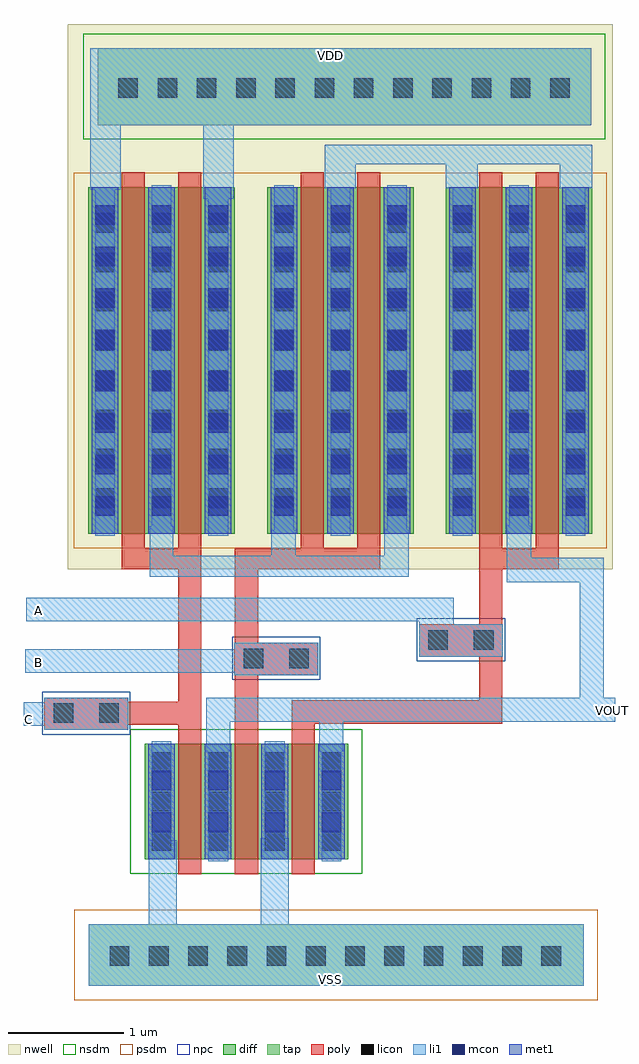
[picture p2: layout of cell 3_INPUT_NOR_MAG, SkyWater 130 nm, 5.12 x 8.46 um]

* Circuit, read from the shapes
.subckt 3_INPUT_NOR_MAG A B C VDD VOUT VSS
XM1 VOUT C VSS VSS sky130_fd_pr__nfet_01v8 w=1 l=0.2
XM2 VSS B VOUT VSS sky130_fd_pr__nfet_01v8 w=1 l=0.2
XM3 VOUT A VSS VSS sky130_fd_pr__nfet_01v8 w=1 l=0.2
XM4 n1 C VDD VDD sky130_fd_pr__pfet_01v8 w=3 l=0.2 m=2
XM5 n2 B n1 VDD sky130_fd_pr__pfet_01v8 w=3 l=0.2 m=2
XM6 VOUT A n2 VDD sky130_fd_pr__pfet_01v8 w=3 l=0.2 m=2
.ends

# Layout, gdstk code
import gdstk
lib = gdstk.Library(unit=1e-6, precision=1e-09)
def R(c, l, rs):  # rectangles x0, y0, x1, y1
    for r in rs: c.add(gdstk.rectangle(r[:2], r[2:], *l))
def A(c, l, x, y, w, h, nx, ny, dx, dy):  # array of equal rectangles
    R(c, l, [(x+i*dx, y+j*dy, x+i*dx+w, y+j*dy+h) for i in range(nx) for j in range(ny)])
nwell = (64, 20)
diff = (65, 20)
tap = (65, 44)
poly = (66, 20)
licon = (66, 44)
li1 = (67, 20)
mcon = (67, 44)
met1 = (68, 20)
nsdm = (93, 44)
psdm = (94, 20)
npc = (95, 20)

sky130_fd_pr__pfet_01v8_ = lib.new_cell('sky130_fd_pr__pfet_01v8_6WH9DB')
R(sky130_fd_pr__pfet_01v8_, nwell, [(-0.57,-1.81,0.57,1.81)])
R(sky130_fd_pr__pfet_01v8_, diff, [(-0.39,-1.5,0.39,1.5)])
R(sky130_fd_pr__pfet_01v8_, poly, [(-0.1,-1.63,0.1,1.63)])
A(sky130_fd_pr__pfet_01v8_, licon, -0.33, -1.275, 0.17, 0.17, 1, 8, 0, 0.34)
A(sky130_fd_pr__pfet_01v8_, licon, 0.16, -1.275, 0.17, 0.17, 1, 8, 0, 0.34)
R(sky130_fd_pr__pfet_01v8_, li1, [(-0.33,-1.52,-0.16,1.52), (0.16,-1.52,0.33,1.52)])
A(sky130_fd_pr__pfet_01v8_, mcon, -0.33, -1.345, 0.17, 0.17, 1, 8, 0, 0.36)
A(sky130_fd_pr__pfet_01v8_, mcon, 0.16, -1.345, 0.17, 0.17, 1, 8, 0, 0.36)
R(sky130_fd_pr__pfet_01v8_, met1, [(-0.36,-1.5,-0.13,1.5), (0.13,-1.5,0.36,1.5)])
R(sky130_fd_pr__pfet_01v8_, psdm, [(-0.515,-1.625,0.515,1.625)])

sky130_fd_pr__nfet_01v8_ = lib.new_cell('sky130_fd_pr__nfet_01v8_NUEGCF')
R(sky130_fd_pr__nfet_01v8_, diff, [(-0.39,-0.5,0.39,0.5)])
R(sky130_fd_pr__nfet_01v8_, poly, [(-0.1,-0.63,0.1,0.63)])
A(sky130_fd_pr__nfet_01v8_, licon, -0.33, -0.425, 0.17, 0.17, 1, 3, 0, 0.34)
A(sky130_fd_pr__nfet_01v8_, licon, 0.16, -0.425, 0.17, 0.17, 1, 3, 0, 0.34)
R(sky130_fd_pr__nfet_01v8_, li1, [(-0.33,-0.52,-0.16,0.52), (0.16,-0.52,0.33,0.52)])
R(sky130_fd_pr__nfet_01v8_, mcon, [(-0.33,-0.265,-0.16,-0.095), (0.16,-0.265,0.33,-0.095), (-0.33,0.095,-0.16,0.265), (0.16,0.095,0.33,0.265)])
R(sky130_fd_pr__nfet_01v8_, met1, [(-0.36,-0.5,-0.13,0.5), (0.13,-0.5,0.36,0.5)])
R(sky130_fd_pr__nfet_01v8_, nsdm, [(-0.515,-0.625,0.515,0.625)])

c_3_input_nor_mag = lib.new_cell('3_INPUT_NOR_MAG')
R(c_3_input_nor_mag, nwell, [(3.255,3.235,3.52,3.355), (1.72,3.26,1.985,3.675), (1.155,3.265,1.42,3.675), (2.71,3.295,2.975,3.565), (4.25,3.345,4.515,3.355), (3.255,3.355,3.535,3.565), (4.245,3.355,4.525,3.565), (2.21,3.565,4.525,3.675), (-0.02,3.675,4.705,4.78)])
R(c_3_input_nor_mag, tap, [(0.165,-3.55,4.45,-3.02), (0.24,3.905,4.515,4.57)])
R(c_3_input_nor_mag, poly, [(-0.22,-1.335,0.505,-1.29), (0.94,-1.325,1.14,-1.29), (1.43,-1.325,1.63,-0.86), (1.92,-1.325,2.12,-1.28), (-0.22,-1.29,1.14,-1.09), (1.92,-1.28,3.745,-1.08), (-0.22,-1.09,0.505,-1.055), (0.94,-1.09,1.14,0.055), (3.545,-1.08,3.745,-0.7), (1.425,-0.86,2.15,-0.58), (3.025,-0.7,3.75,-0.42), (1.43,-0.58,1.63,0.055), (3.545,-0.42,3.745,0.055), (0.45,0.055,1.14,0.235), (1.43,0.055,2.69,0.235), (3.545,0.055,4.235,0.235), (3.545,0.235,3.745,0.255)])
A(c_3_input_nor_mag, licon, 0.345, -3.38, 0.17, 0.17, 12, 1, 0.34, 0)
A(c_3_input_nor_mag, licon, 0.42, 4.14, 0.17, 0.17, 12, 1, 0.34, 0)
R(c_3_input_nor_mag, licon, [(-0.14,-1.275,0.03,-1.105), (0.255,-1.275,0.425,-1.105), (1.505,-0.8,1.675,-0.63), (1.9,-0.8,2.07,-0.63), (3.105,-0.64,3.275,-0.47), (3.5,-0.64,3.67,-0.47)])
R(c_3_input_nor_mag, li1, [(0.165,-3.55,4.45,-3.02), (0.685,-3.02,0.925,-2.29), (1.655,-3.02,1.895,-2.275), (1.18,-1.52,1.39,-1.265), (2.16,-1.52,2.37,-1.265), (-0.22,-1.335,0.505,-1.3), (-0.4,-1.3,0.505,-1.095), (1.18,-1.265,4.725,-1.055), (-0.22,-1.095,0.505,-1.055), (4.415,-1.055,4.625,-0.055), (1.425,-0.86,2.15,-0.84), (-0.385,-0.84,2.15,-0.635), (3.025,-0.7,3.75,-0.42), (1.425,-0.635,2.15,-0.58), (3.025,-0.42,3.325,-0.395), (-0.38,-0.395,3.325,-0.19), (3.785,-0.055,4.625,0.155), (0.69,-0.01,2.935,0.175), (3.785,0.155,3.995,0.435), (0.69,0.175,0.895,0.43), (1.745,0.175,1.955,0.395), (2.725,0.175,2.935,0.4), (1.155,3.265,1.42,3.905), (0.175,3.345,0.44,3.905), (2.21,3.355,2.475,3.565), (3.255,3.355,3.535,3.565), (4.245,3.355,4.525,3.565), (2.21,3.565,4.525,3.735), (0.175,3.905,4.515,4.57)])
R(c_3_input_nor_mag, nsdm, [(0.115,3.78,4.64,4.695)])
R(c_3_input_nor_mag, psdm, [(0.04,-3.675,4.575,-2.895), (1.555,0.24,1.585,3.49), (3.105,0.24,3.13,3.49)])
R(c_3_input_nor_mag, npc, [(-0.24,-1.375,0.525,-1.005), (1.405,-0.9,2.17,-0.53), (3.005,-0.74,3.77,-0.37)])
c_3_input_nor_mag.add(gdstk.Reference(sky130_fd_pr__pfet_01v8_, (2.59,1.865)))
c_3_input_nor_mag.add(gdstk.Reference(sky130_fd_pr__pfet_01v8_, (2.1,1.865)))
c_3_input_nor_mag.add(gdstk.Reference(sky130_fd_pr__pfet_01v8_, (0.55,1.865)))
c_3_input_nor_mag.add(gdstk.Reference(sky130_fd_pr__pfet_01v8_, (1.04,1.865)))
c_3_input_nor_mag.add(gdstk.Reference(sky130_fd_pr__pfet_01v8_, (3.645,1.865)))
c_3_input_nor_mag.add(gdstk.Reference(sky130_fd_pr__pfet_01v8_, (4.135,1.865)))
c_3_input_nor_mag.add(gdstk.Reference(sky130_fd_pr__nfet_01v8_, (1.53,-1.955)))
c_3_input_nor_mag.add(gdstk.Reference(sky130_fd_pr__nfet_01v8_, (1.04,-1.955)))
c_3_input_nor_mag.add(gdstk.Reference(sky130_fd_pr__nfet_01v8_, (2.02,-1.955)))
c_3_input_nor_mag.add(gdstk.Label('A', (-0.27,-0.305), layer=67, texttype=5))
c_3_input_nor_mag.add(gdstk.Label('B', (-0.27,-0.755), layer=67, texttype=5))
c_3_input_nor_mag.add(gdstk.Label('C', (-0.355,-1.245), layer=67, texttype=5))
c_3_input_nor_mag.add(gdstk.Label('VOUT', (4.705,-1.165), layer=67, texttype=5))
c_3_input_nor_mag.add(gdstk.Label('VSS', (2.26,-3.5), layer=67, texttype=5))
c_3_input_nor_mag.add(gdstk.Label('VDD', (2.26,4.505), layer=67, texttype=5))

lib.write_gds('3_INPUT_NOR_MAG.gds')
